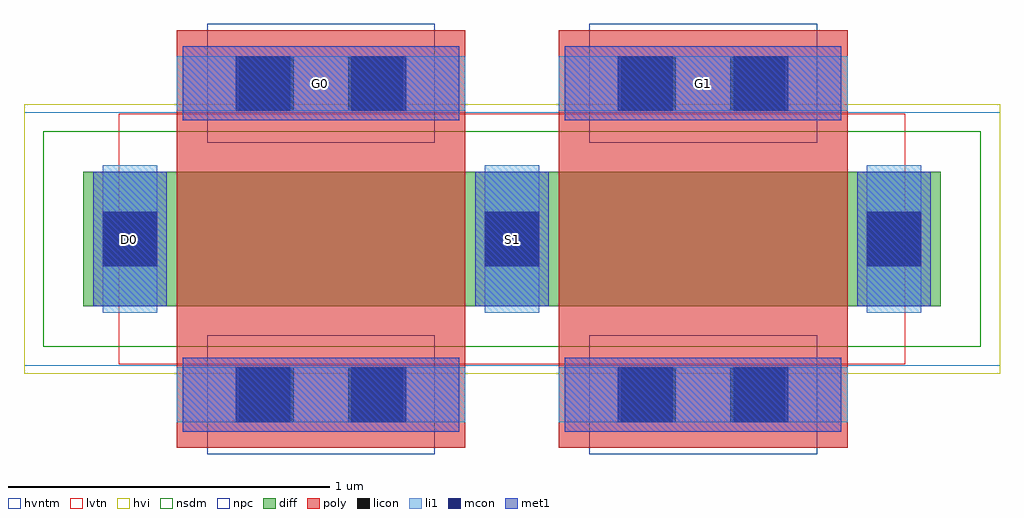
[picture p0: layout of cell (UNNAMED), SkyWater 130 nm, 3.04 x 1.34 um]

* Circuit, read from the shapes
.subckt (UNNAMED) D0 G0 G1 S1
XM1 S1 G0 D0 VSUBS sky130_fd_pr__nfet_05v0_nvt w=0.42 l=0.9
XM2 n1 G1 S1 VSUBS sky130_fd_pr__nfet_05v0_nvt w=0.42 l=0.9
.ends

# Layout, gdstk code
import gdstk
lib = gdstk.Library(unit=1e-6, precision=1e-09)
def R(c, l, rs):  # rectangles x0, y0, x1, y1
    for r in rs: c.add(gdstk.rectangle(r[:2], r[2:], *l))
def A(c, l, x, y, w, h, nx, ny, dx, dy):  # array of equal rectangles
    R(c, l, [(x+i*dx, y+j*dy, x+i*dx+w, y+j*dy+h) for i in range(nx) for j in range(ny)])
diff = (65, 20)
poly = (66, 20)
licon = (66, 44)
li1 = (67, 20)
mcon = (67, 44)
met1 = (68, 20)
hvi = (75, 20)
nsdm = (93, 44)
npc = (95, 20)
hvntm = (125, 20)
lvtn = (125, 44)

c__unnamed_ = lib.new_cell('(UNNAMED)')
R(c__unnamed_, diff, [(-1.335,-0.21,1.335,0.21)])
R(c__unnamed_, poly, [(-1.045,-0.65,-0.145,0.65), (0.145,-0.65,1.045,0.65)])
A(c__unnamed_, licon, -1.275, -0.085, 0.17, 0.17, 3, 1, 1.19, 0)
R(c__unnamed_, licon, [(-0.85,-0.57,-0.68,-0.4), (-0.51,-0.57,-0.34,-0.4), (0.34,-0.57,0.51,-0.4), (0.68,-0.57,0.85,-0.4), (-0.85,0.4,-0.68,0.57), (-0.51,0.4,-0.34,0.57), (0.34,0.4,0.51,0.57), (0.68,0.4,0.85,0.57)])
A(c__unnamed_, li1, -1.275, -0.23, 0.17, 0.46, 3, 1, 1.19, 0)
R(c__unnamed_, li1, [(-1.045,-0.57,-0.145,-0.4), (0.145,-0.57,1.045,-0.4), (-1.045,0.4,-0.145,0.57), (0.145,0.4,1.045,0.57)])
A(c__unnamed_, mcon, -1.275, -0.085, 0.17, 0.17, 3, 1, 1.19, 0)
R(c__unnamed_, mcon, [(-0.86,-0.57,-0.69,-0.4), (-0.5,-0.57,-0.33,-0.4), (0.33,-0.57,0.5,-0.4), (0.69,-0.57,0.86,-0.4), (-0.86,0.4,-0.69,0.57), (-0.5,0.4,-0.33,0.57), (0.33,0.4,0.5,0.57), (0.69,0.4,0.86,0.57)])
A(c__unnamed_, met1, -1.305, -0.21, 0.23, 0.42, 3, 1, 1.19, 0)
R(c__unnamed_, met1, [(-1.025,-0.6,-0.165,-0.37), (0.165,-0.6,1.025,-0.37), (-1.025,0.37,-0.165,0.6), (0.165,0.37,1.025,0.6)])
R(c__unnamed_, hvi, [(-1.52,-0.42,1.52,0.42)])
R(c__unnamed_, nsdm, [(-1.46,-0.335,1.46,0.335)])
R(c__unnamed_, npc, [(-0.95,-0.67,-0.24,-0.3), (0.24,-0.67,0.95,-0.3), (-0.95,0.3,-0.24,0.67), (0.24,0.3,0.95,0.67)])
R(c__unnamed_, hvntm, [(-1.52,-0.395,1.52,0.395)])
R(c__unnamed_, lvtn, [(-1.225,-0.39,1.225,0.39)])
c__unnamed_.add(gdstk.Label('D0', (-1.19,0), layer=67, texttype=5))
c__unnamed_.add(gdstk.Label('G0', (-0.595,0.485), layer=67, texttype=5))
c__unnamed_.add(gdstk.Label('S1', (0,0), layer=67, texttype=5))
c__unnamed_.add(gdstk.Label('G1', (0.595,0.485), layer=67, texttype=5))

lib.write_gds('_UNNAMED_.gds')
